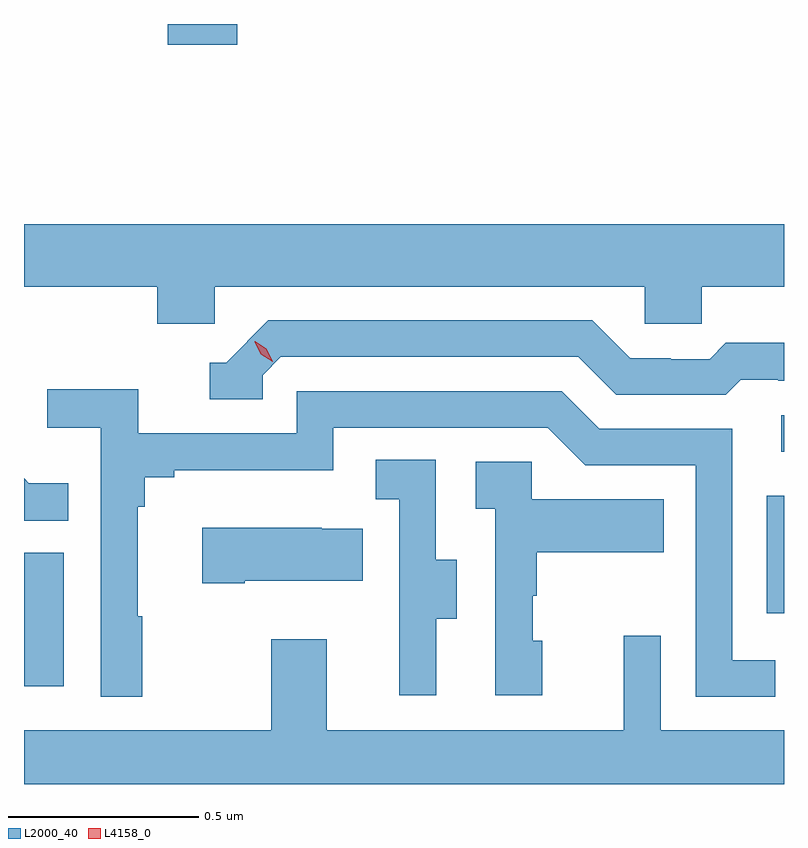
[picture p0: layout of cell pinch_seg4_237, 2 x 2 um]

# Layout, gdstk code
import gdstk
lib = gdstk.Library(unit=1e-6, precision=1e-09)
def R(c, l, rs):  # rectangles x0, y0, x1, y1
    for r in rs: c.add(gdstk.rectangle(r[:2], r[2:], *l))
def P(c, l, *ps):  # polygons
    for p in ps: c.add(gdstk.Polygon(p, *l))
L2000_40 = (2000, 40)
L4158_0 = (4158, 0)

pinch_seg4_237 = lib.new_cell('pinch_seg4_237')
R(pinch_seg4_237, L2000_40, [(905.768,827.736,905.872,828.087), (907.722,827.928,907.768,828.238), (907.761,828.354,907.768,828.45), (906.146,829.425,906.329,829.479)])
P(pinch_seg4_237, L2000_40, [(906.27,828.788),(907.401,828.788),(907.401,828.69),(907.551,828.69),(907.551,828.788),(907.768,828.788),(907.768,828.952),(905.768,828.952),(905.768,828.788),(906.119,828.788),(906.119,828.69),(906.27,828.69)],
  [(906.396,828.555),(906.444,828.603),(907.227,828.603),(907.326,828.504),(907.615,828.504),(907.654,828.543),(907.753,828.543),(907.753,828.54),(907.768,828.54),(907.768,828.64),(907.615,828.64),(907.573,828.597),(907.47,828.597),(907.47,828.6),(907.363,828.6),(907.264,828.699),(906.411,828.699),(906.3,828.588),(906.257,828.588),(906.257,828.492),(906.396,828.492)],
  [(906.079,827.921),(906.067,827.921),(906.067,828.209),(906.086,828.209),(906.086,828.286),(906.163,828.286),(906.163,828.305),(906.582,828.305),(906.582,828.417),(907.146,828.417),(907.245,828.318),(907.536,828.318),(907.536,827.709),(907.745,827.709),(907.745,827.805),(907.632,827.805),(907.632,828.414),(907.282,828.414),(907.183,828.513),(906.486,828.513),(906.486,828.402),(906.068,828.402),(906.068,828.518),(905.829,828.518),(905.829,828.416),(905.97,828.416),(905.97,827.709),(906.079,827.709)],
  [(906.853,827.914),(906.907,827.914),(906.907,828.069),(906.852,828.069),(906.852,828.332),(906.693,828.332),(906.693,828.229),(906.756,828.229),(906.756,827.925),(906.755,827.925),(906.755,827.712),(906.853,827.712)],
  [(907.132,827.856),(907.107,827.856),(907.107,827.975),(907.117,827.975),(907.117,828.089),(907.451,828.089),(907.451,828.229),(907.104,828.229),(907.104,828.327),(906.957,828.327),(906.957,828.203),(907.008,828.203),(907.008,827.712),(907.132,827.712)],
  [(905.885,828.271),(905.781,828.271),(905.768,828.284),(905.768,828.172),(905.885,828.172)],
  [(906.349,828.014),(906.659,828.014),(906.659,828.151),(906.551,828.151),(906.551,828.154),(906.237,828.154),(906.237,828.007),(906.349,828.007)],
  [(907.768,827.62),(907.443,827.62),(907.443,827.869),(907.346,827.869),(907.346,827.62),(906.565,827.62),(906.565,827.86),(906.418,827.86),(906.418,827.62),(905.768,827.62),(905.768,827.479),(907.768,827.479)])
P(pinch_seg4_237, L4158_0, [(906.422,828.59),(906.391,828.61),(906.375,828.643),(906.375,828.644),(906.376,828.644),(906.406,828.624),(906.422,828.591),(906.422,828.59)])

lib.write_gds('pinch_seg4_237.gds')
